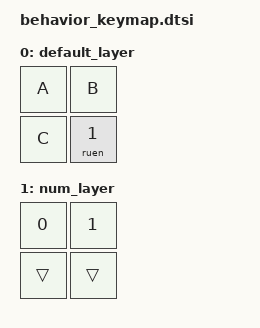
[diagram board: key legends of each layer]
#include <dt-bindings/zmk/keys.h>
#include <behaviors.dtsi>
#include <behaviors/ruen.dtsi>
#include <dt-bindings/zmk/kscan_mock.h>

/ {
    keymap {
        compatible = "zmk,keymap";
        default_layer {
            bindings = <
                &kp A &kp B
                &kp C &ruen 1
            >;
        };

        num_layer {
            bindings = <
                &kp N0 &kp N1
                &trans &trans
            >;
        };
    };
};
